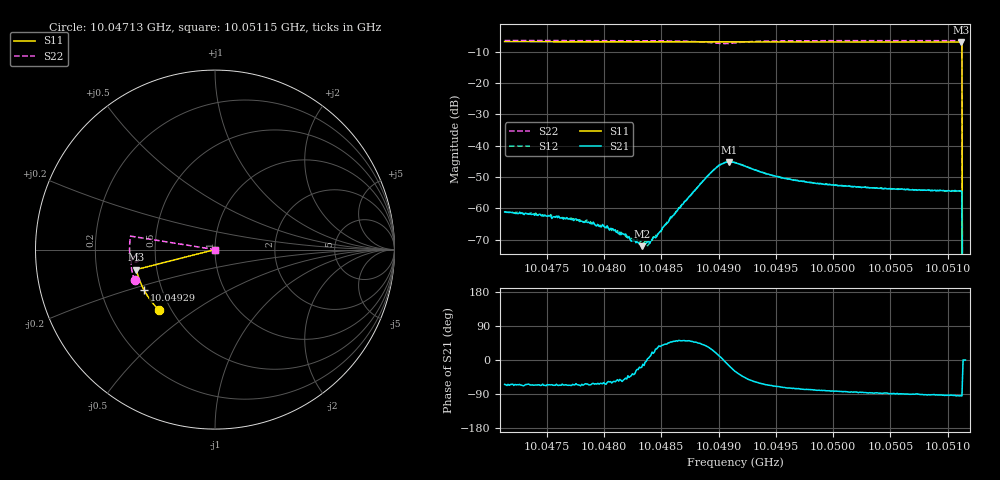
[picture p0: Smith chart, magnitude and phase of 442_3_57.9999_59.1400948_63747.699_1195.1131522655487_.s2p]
#  HZ  S  RI  R  50.00
! Rohde & Schwarz Vector Network Analyzer
! Rohde-Schwarz,ZNB20-2Port,1311601062101988,3.16
! Created: UTC 3/21/2024, 1:10:06 AM
! freq[Hz]  re:S11  im:S11  re:S21  im:S21  re:S12  im:S12  re:S22  im:S22
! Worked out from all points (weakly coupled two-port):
!   401 points, 10.04713 GHz to 10.05115 GHz, reference 50 ohm
!   highest |S21| = -45.18 dB at 10.04909 GHz (marker M1); lowest = -72.1 dB at 10.04833 GHz (marker M2)
!   lowest |S11| = -6.9 dB at 10.05111 GHz (marker M3), VSWR 2.65, Z = 19.1 - j5.37 ohm
!   |S11| at or under -10 dB: 10.05112 GHz to end of sweep
!   |S22| runs from - to -6.4 dB; largest |S21 - S12| = 0.0004
!   S11 on the Smith chart (normalised r, x): 10.04713 GHz: 0.43, -0.37; 10.04929 GHz: 0.40, -0.22; 10.05115 GHz: 1.00, +0.00
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1.0047133e10  -0.3123 -0.3367  0.000381 -0.000793  0.000435 -0.000775  -0.4478 -0.172
1.0047535e10  -0.3306 -0.3174  0.000315 -0.000702  0.000372 -0.000704  -0.456 -0.1458
1.0047807e10  -0.3424 -0.3038  0.000275 -0.000562  0.000299 -0.000581  -0.4607 -0.1275
1.0047867e10  -0.3449 -0.3008  0.000251 -0.000549  0.000317 -0.000541  -0.4618 -0.1234
1.0048078e10  -0.3535 -0.2899  0.000252 -0.000396  0.000257 -0.000395  -0.4647 -0.1084
1.0048128e10  -0.3555 -0.2873  0.000222 -0.000325  0.000263 -0.000321  -0.4653 -0.1045
1.0048179e10  -0.3575 -0.2846  0.000241 -0.000295  0.000261 -0.00029  -0.4657 -0.1009
1.004833e10  -0.3634 -0.2767  0.000236 -8.19e-05  0.00028 -6.87e-05  -0.467 -0.0893
1.00484e10  -0.366 -0.273  0.000273 4.38e-05  0.000272 6.61e-05  -0.4673 -0.0836
1.004848e10  -0.3691 -0.2686  0.000326 0.000247  0.000331 0.000266  -0.4674 -0.0768
1.0048671e10  -0.3759 -0.2579  0.00067 0.000819  0.000663 0.000868  -0.4648 -0.0588
1.0048912e10  -0.3842 -0.2444  0.00281 0.00188  0.00276 0.00203  -0.4443 -0.0366
1.0049013e10  -0.3873 -0.2388  0.0049 0.000737  0.00485 0.00105  -0.4266 -0.0436
1.0049093e10  -0.3898 -0.2345  0.00531 -0.00148  0.00544 -0.00116  -0.4262 -0.0607
1.0049144e10  -0.3915 -0.2317  0.00466 -0.00267  0.00487 -0.00233  -0.434 -0.0675
1.0049294e10  -0.3964 -0.2231  0.00246 -0.00349  0.00268 -0.00337  -0.4574 -0.063
1.0049546e10  -0.404 -0.2084  0.000989 -0.00292  0.00119 -0.00291  -0.4711 -0.0393
1.0049817e10  -0.4115 -0.1921  0.000518 -0.00251  0.000646 -0.00249  -0.4752 -0.0166
1.005049e10  -0.4273 -0.1509  4.66e-05 -0.00206  0.000197 -0.00207  -0.4753 0.0322
1.0051104e10  -0.4381 -0.1123  -0.000151 -0.00191  -2.59e-05 -0.00189  -0.4705 0.0738
1.0051114e10  -0.4382 -0.1116  -0.000138 -0.00189  -1.88e-05 -0.00187  -0.4704 0.0744
1.0051154e10  0 0  0 0  0 0  0 0
